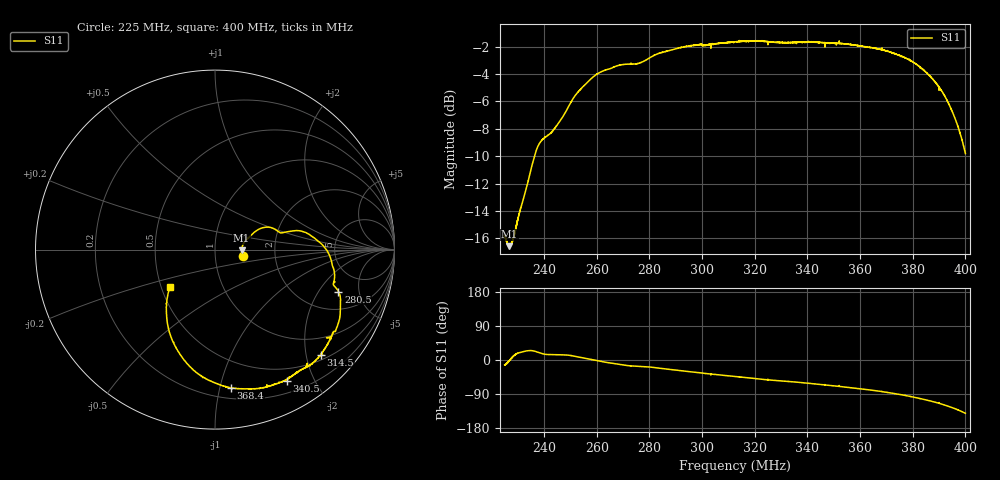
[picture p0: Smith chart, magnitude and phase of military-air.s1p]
! Calibrated averaged scanner-service zoom
# Hz S RI R 50
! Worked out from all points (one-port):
!   10001 points, 225 MHz to 400 MHz, reference 50 ohm
!   lowest |S11| = -16.6 dB at 226.8 MHz (marker M1), VSWR 1.35, Z = 67.4 - j0.629 ohm
!   |S11| at or under -10 dB: start of sweep to 236.3 MHz
!   S11 on the Smith chart (normalised r, x): 225 MHz: 1.37, -0.10; 280.5 MHz: 3.10, -3.08; 314.5 MHz: 0.61, -2.29; 340.5 MHz: 0.34, -1.63; 368.4 MHz: 0.28, -1.08; 400 MHz: 0.56, -0.25
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2.25e8  0.1583 -0.0368
2.268025e8  0.1481 -0.00457
2.283075e8  0.156 0.0282
2.329975e8  0.2167 0.0943
2.355175e8  0.2687 0.1225
2.37425e8  0.3178 0.1212
2.41345e8  0.3644 0.0933
2.46875e8  0.4247 0.1027
2.511275e8  0.5067 0.0945
2.59125e8  0.6213 -0.00128
2.62485e8  0.6461 -0.0549
2.6875e8  0.6662 -0.1386
2.75295e8  0.6601 -0.1967
2.804925e8  0.688 -0.2341
2.90625e8  0.6975 -0.357
2.991125e8  0.6734 -0.4476
3.125e8  0.6004 -0.5692
3.14495e8  0.5888 -0.5852
3.232625e8  0.5199 -0.6496
3.34375e8  0.4412 -0.6942
3.40465e8  0.3986 -0.7304
3.5625e8  0.237 -0.7737
3.6836e8  0.0884 -0.7699
3.78125e8  -0.061 -0.7138
3.8453e8  -0.1621 -0.6266
3.911975e8  -0.2462 -0.4853
3.958175e8  -0.271 -0.3478
4e8  -0.2503 -0.2046
